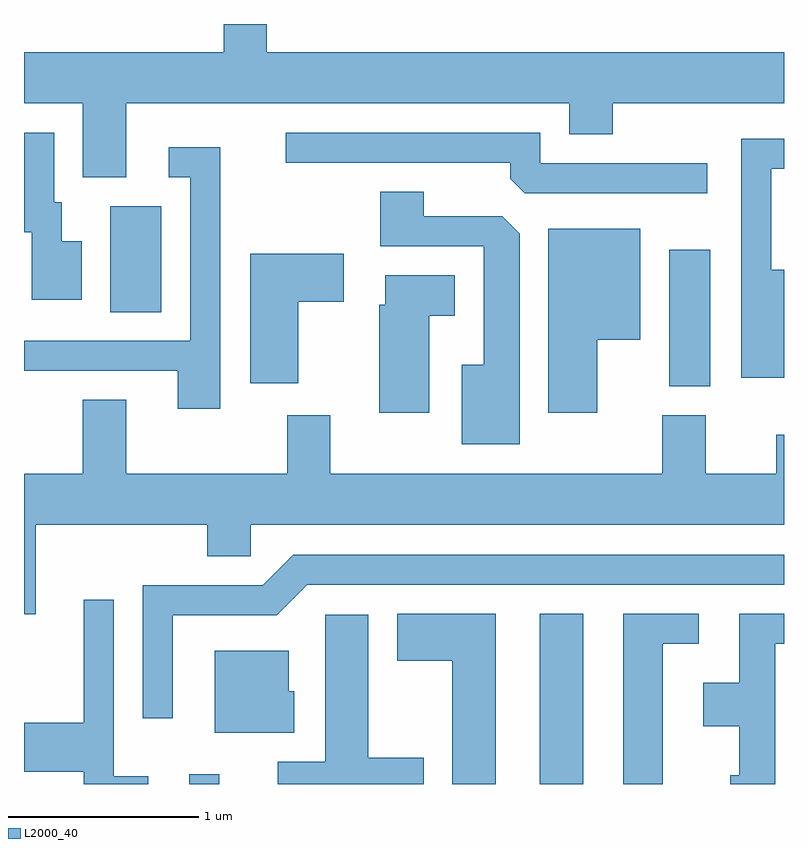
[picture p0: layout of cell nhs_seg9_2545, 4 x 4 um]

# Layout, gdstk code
import gdstk
lib = gdstk.Library(unit=1e-6, precision=1e-09)
def R(c, l, rs):  # rectangles x0, y0, x1, y1
    for r in rs: c.add(gdstk.rectangle(r[:2], r[2:], *l))
def P(c, l, *ps):  # polygons
    for p in ps: c.add(gdstk.Polygon(p, *l))
L2000_40 = (2000, 40)

nhs_seg9_2545 = lib.new_cell('nhs_seg9_2545')
R(nhs_seg9_2545, L2000_40, [(260.481,2010.432,260.639,2010.483), (262.326,2010.432,262.554,2011.329), (263.006,2012.526,263.224,2013.244), (260.066,2012.916,260.334,2013.474)])
P(nhs_seg9_2545, L2000_40, [(260.149,2014.016),(262.481,2014.016),(262.481,2013.851),(262.709,2013.851),(262.709,2014.016),(263.611,2014.016),(263.611,2014.284),(260.889,2014.284),(260.889,2014.432),(260.661,2014.432),(260.661,2014.284),(259.611,2014.284),(259.611,2014.016),(259.921,2014.016),(259.921,2013.626),(260.149,2013.626)],
  [(259.914,2013.289),(259.809,2013.289),(259.809,2013.494),(259.769,2013.494),(259.769,2013.859),(259.611,2013.859),(259.611,2013.336),(259.651,2013.336),(259.651,2012.981),(259.914,2012.981)],
  [(263.208,2013.699),(262.329,2013.699),(262.329,2013.859),(260.988,2013.859),(260.988,2013.701),(262.171,2013.701),(262.171,2013.617),(262.247,2013.541),(263.208,2013.541)],
  [(263.611,2013.139),(263.544,2013.139),(263.544,2013.671),(263.611,2013.671),(263.611,2013.829),(263.386,2013.829),(263.386,2012.571),(263.611,2012.571)],
  [(260.644,2013.784),(260.373,2013.784),(260.373,2013.626),(260.486,2013.626),(260.486,2012.764),(259.611,2012.764),(259.611,2012.606),(260.421,2012.606),(260.421,2012.406),(260.644,2012.406)],
  [(262.219,2013.329),(262.129,2013.419),(261.714,2013.419),(261.714,2013.549),(261.486,2013.549),(261.486,2013.261),(262.031,2013.261),(262.031,2012.639),(261.916,2012.639),(261.916,2012.221),(262.219,2012.221)],
  [(262.629,2012.771),(262.854,2012.771),(262.854,2013.354),(262.371,2013.354),(262.371,2012.386),(262.629,2012.386)],
  [(261.054,2012.971),(261.294,2012.971),(261.294,2013.224),(260.801,2013.224),(260.801,2012.541),(261.054,2012.541)],
  [(261.744,2012.896),(261.879,2012.896),(261.879,2013.109),(261.511,2013.109),(261.511,2012.954),(261.481,2012.954),(261.481,2012.386),(261.744,2012.386)],
  [(259.674,2011.796),(260.576,2011.796),(260.576,2011.631),(260.804,2011.631),(260.804,2011.796),(263.611,2011.796),(263.611,2012.269),(263.571,2012.269),(263.571,2012.064),(263.199,2012.064),(263.199,2012.374),(262.971,2012.374),(262.971,2012.064),(261.224,2012.064),(261.224,2012.374),(260.996,2012.374),(260.996,2012.064),(260.149,2012.064),(260.149,2012.454),(259.921,2012.454),(259.921,2012.064),(259.611,2012.064),(259.611,2011.326),(259.674,2011.326)],
  [(260.394,2011.321),(260.942,2011.321),(261.102,2011.481),(263.611,2011.481),(263.611,2011.639),(261.029,2011.639),(260.868,2011.479),(260.236,2011.479),(260.236,2010.778),(260.394,2010.778)],
  [(260.264,2010.474),(260.084,2010.474),(260.084,2011.403),(259.926,2011.403),(259.926,2010.754),(259.611,2010.754),(259.611,2010.496),(259.926,2010.496),(259.926,2010.432),(260.264,2010.432)],
  [(263.564,2011.171),(263.611,2011.171),(263.611,2011.329),(263.376,2011.329),(263.376,2010.964),(263.186,2010.964),(263.186,2010.736),(263.376,2010.736),(263.376,2010.479),(263.328,2010.479),(263.328,2010.432),(263.564,2010.432)],
  [(262.094,2011.329),(261.576,2011.329),(261.576,2011.081),(261.866,2011.081),(261.866,2010.432),(262.094,2010.432)],
  [(262.974,2011.171),(263.163,2011.171),(263.163,2011.329),(262.766,2011.329),(262.766,2010.432),(262.974,2010.432)],
  [(261.714,2010.569),(261.424,2010.569),(261.424,2011.324),(261.196,2011.324),(261.196,2010.549),(260.946,2010.549),(260.946,2010.432),(261.714,2010.432)],
  [(261.034,2010.919),(261.004,2010.919),(261.004,2011.134),(260.616,2011.134),(260.616,2010.701),(261.034,2010.701)])

lib.write_gds('nhs_seg9_2545.gds')
